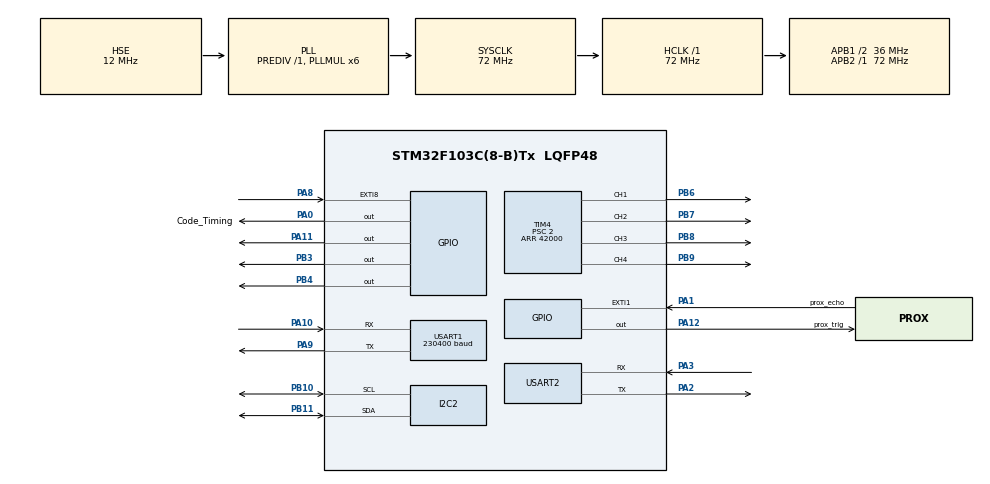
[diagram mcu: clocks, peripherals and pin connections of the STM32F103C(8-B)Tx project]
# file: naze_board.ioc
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Dma.Request0=USART1_RX
Dma.Request1=USART1_TX
Dma.Request2=USART2_RX
Dma.Request3=USART2_TX
Dma.USART1_RX.0.Direction=DMA_PERIPH_TO_MEMORY
Dma.USART1_RX.0.Instance=DMA1_Channel5
Dma.USART1_RX.0.MemDataAlignment=DMA_MDATAALIGN_BYTE
Dma.USART1_RX.0.MemInc=DMA_MINC_ENABLE
Dma.USART1_RX.0.Mode=DMA_NORMAL
Dma.USART1_RX.0.PeriphDataAlignment=DMA_PDATAALIGN_BYTE
Dma.USART1_RX.0.PeriphInc=DMA_PINC_DISABLE
Dma.USART1_RX.0.Priority=DMA_PRIORITY_LOW
Dma.USART1_TX.1.Direction=DMA_MEMORY_TO_PERIPH
Dma.USART1_TX.1.Instance=DMA1_Channel4
Dma.USART1_TX.1.MemDataAlignment=DMA_MDATAALIGN_BYTE
Dma.USART1_TX.1.MemInc=DMA_MINC_ENABLE
Dma.USART1_TX.1.Mode=DMA_NORMAL
Dma.USART1_TX.1.PeriphDataAlignment=DMA_PDATAALIGN_BYTE
Dma.USART1_TX.1.PeriphInc=DMA_PINC_DISABLE
Dma.USART1_TX.1.Priority=DMA_PRIORITY_LOW
Dma.USART2_RX.2.Direction=DMA_PERIPH_TO_MEMORY
Dma.USART2_RX.2.Instance=DMA1_Channel6
Dma.USART2_RX.2.MemDataAlignment=DMA_MDATAALIGN_BYTE
Dma.USART2_RX.2.MemInc=DMA_MINC_ENABLE
Dma.USART2_RX.2.Mode=DMA_NORMAL
Dma.USART2_RX.2.PeriphDataAlignment=DMA_PDATAALIGN_BYTE
Dma.USART2_RX.2.PeriphInc=DMA_PINC_DISABLE
Dma.USART2_RX.2.Priority=DMA_PRIORITY_LOW
Dma.USART2_TX.3.Direction=DMA_MEMORY_TO_PERIPH
Dma.USART2_TX.3.Instance=DMA1_Channel7
Dma.USART2_TX.3.MemDataAlignment=DMA_MDATAALIGN_BYTE
Dma.USART2_TX.3.MemInc=DMA_MINC_ENABLE
Dma.USART2_TX.3.Mode=DMA_NORMAL
Dma.USART2_TX.3.PeriphDataAlignment=DMA_PDATAALIGN_BYTE
Dma.USART2_TX.3.PeriphInc=DMA_PINC_DISABLE
Dma.USART2_TX.3.Priority=DMA_PRIORITY_LOW
I2C2.I2C_Mode=I2C_Fast
Mcu.Family=STM32F1
Mcu.Name=STM32F103C(8-B)Tx
Mcu.Package=LQFP48
NVIC.DMA1_Channel4_IRQn=true\:0\:0\:false\:false\:true\:false\:true
NVIC.DMA1_Channel5_IRQn=true\:0\:0\:false\:false\:true\:false\:true
NVIC.DMA1_Channel6_IRQn=true\:0\:0\:false\:false\:true\:false\:true
NVIC.DMA1_Channel7_IRQn=true\:0\:0\:false\:false\:true\:false\:true
NVIC.EXTI1_IRQn=true\:0\:0\:false\:false\:true\:true\:true
NVIC.EXTI9_5_IRQn=true\:0\:0\:false\:false\:true\:true\:true
NVIC.PriorityGroup=NVIC_PRIORITYGROUP_4
NVIC.TIM3_IRQn=true\:0\:0\:false\:false\:true\:true\:true
NVIC.TIM4_IRQn=true\:0\:0\:false\:false\:true\:true\:true
NVIC.USART1_IRQn=true\:0\:0\:false\:false\:true\:true\:true
NVIC.USART2_IRQn=true\:0\:0\:false\:false\:true\:true\:true
PA0-WKUP.GPIO_Label=Code_Timing
PA0-WKUP.Signal=GPIO_Output
PA1.GPIO_Label=prox_echo
PA1.GPIO_ModeDefaultEXTI=GPIO_MODE_IT_RISING_FALLING
PA1.Signal=GPXTI1
PA10.Mode=Asynchronous
PA10.Signal=USART1_RX
PA11.Signal=GPIO_Output
PA12.GPIO_Label=prox_trig
PA12.Signal=GPIO_Output
PA13.Mode=Serial_Wire
PA13.Signal=SYS_JTMS-SWDIO
PA14.Mode=Serial_Wire
PA14.Signal=SYS_JTCK-SWCLK
PA2.Mode=Asynchronous
PA2.Signal=USART2_TX
PA3.Mode=Asynchronous
PA3.Signal=USART2_RX
PA8.GPIO_ModeDefaultEXTI=GPIO_MODE_IT_FALLING
PA8.GPIO_PuPd=GPIO_PULLUP
PA8.Signal=GPXTI8
PA9.Mode=Asynchronous
PA9.Signal=USART1_TX
PB10.Mode=I2C
PB10.Signal=I2C2_SCL
PB11.Mode=I2C
PB11.Signal=I2C2_SDA
PB3.Signal=GPIO_Output
PB4.Signal=GPIO_Output
PB6.Signal=S_TIM4_CH1
PB7.Signal=S_TIM4_CH2
PB8.Signal=S_TIM4_CH3
PB9.Signal=S_TIM4_CH4
PD0-OSC_IN.Mode=HSE-External-Oscillator
PD0-OSC_IN.Signal=RCC_OSC_IN
PD1-OSC_OUT.Mode=HSE-External-Oscillator
PD1-OSC_OUT.Signal=RCC_OSC_OUT
ProjectManager.HeapSize=0x200
ProjectManager.StackSize=0x400
ProjectManager.TargetToolchain=STM32CubeIDE
RCC.AHBFreq_Value=72000000
RCC.APB1CLKDivider=RCC_HCLK_DIV2
RCC.APB1Freq_Value=36000000
RCC.APB1TimFreq_Value=72000000
RCC.APB2Freq_Value=72000000
RCC.APB2TimFreq_Value=72000000
RCC.HCLKFreq_Value=72000000
RCC.HSE_VALUE=12000000
RCC.PLLMUL=RCC_PLL_MUL6
RCC.PLLSourceVirtual=RCC_PLLSOURCE_HSE
RCC.SYSCLKFreq_VALUE=72000000
RCC.SYSCLKSource=RCC_SYSCLKSOURCE_PLLCLK
RCC.USBFreq_Value=72000000
SH.S_TIM4_CH1.0=TIM4_CH1,PWM Generation1 CH1
SH.S_TIM4_CH2.0=TIM4_CH2,PWM Generation2 CH2
SH.S_TIM4_CH3.0=TIM4_CH3,PWM Generation3 CH3
SH.S_TIM4_CH4.0=TIM4_CH4,PWM Generation4 CH4
TIM2.AutoReloadPreload=TIM_AUTORELOAD_PRELOAD_ENABLE
TIM2.Channel-Output\ Compare1\ No\ Output=TIM_CHANNEL_1
TIM2.Period=65000
TIM2.Prescaler=14
TIM3.Channel-Output\ Compare1\ No\ Output=TIM_CHANNEL_1
TIM3.Period=9000
TIM3.Prescaler=15
TIM4.AutoReloadPreload=TIM_AUTORELOAD_PRELOAD_ENABLE
TIM4.Channel-PWM\ Generation1\ CH1=TIM_CHANNEL_1
TIM4.Channel-PWM\ Generation2\ CH2=TIM_CHANNEL_2
TIM4.Channel-PWM\ Generation3\ CH3=TIM_CHANNEL_3
TIM4.Channel-PWM\ Generation4\ CH4=TIM_CHANNEL_4
TIM4.Period=42000
TIM4.Prescaler=2
USART1.BaudRate=230400
USART1.VirtualMode=VM_ASYNC
USART2.VirtualMode=VM_ASYNC
VP_TIM2_VS_no_output1.Mode=Output Compare1 No Output
VP_TIM3_VS_no_output1.Mode=Output Compare1 No Output
board=custom

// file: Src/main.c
/* USER CODE BEGIN Header */
/**
  ******************************************************************************
  * @file           : main.c
  * @brief          : Main program body
  ******************************************************************************
  * @attention
  *
  * <h2><center>&copy; Copyright (c) 2019 STMicroelectronics.
  * All rights reserved.</center></h2>
  *
  * This software component is licensed by ST under BSD 3-Clause license,
  * the "License"; You may not use this file except in compliance with the
  * License. You may obtain a copy of the License at:
  *                        opensource.org/licenses/BSD-3-Clause
  *
  ******************************************************************************
  */
/* USER CODE END Header */

#include "main.h"

/* USER CODE BEGIN Includes */
//////////////////////////////

// Library that handles setup and fetching data from accel and gyro.
// TO DO: rewrite it to take advantage of DMA functionality.
#include "mpu6050.h"

// complimentary filter that converts mpu6050 output to roll and pitch
// angle in radians.
// NOTE: gyro calculation are not accurate for big roll and pitch angles
// due to coupling to yaw.
#include "comp_filt.h"

// pid for roll pitch and yaw control
// NOTE: Do not use yaw because there is no magnetometer.
// TO DO: altitude pid that will run at different freq
#include "pid.h"

// A simple implementation of printf function that transmits data to UART
// see the header and c file for more info. Sending standard "printf" function
// to uart didnt work for some reason.
#include "debugPrint.h"

#include "prox_sens.h"
#include "comm.h"

/////////////////////////////
/* USER CODE END Includes */

I2C_HandleTypeDef hi2c2;

TIM_HandleTypeDef htim2;
TIM_HandleTypeDef htim3;
TIM_HandleTypeDef htim4;

UART_HandleTypeDef huart1;
UART_HandleTypeDef huart2;
DMA_HandleTypeDef hdma_usart1_rx;
DMA_HandleTypeDef hdma_usart1_tx;
DMA_HandleTypeDef hdma_usart2_rx;
DMA_HandleTypeDef hdma_usart2_tx;

/* USER CODE BEGIN PV */

extern int prox_Flag;			// Variable used by prox_sens
extern float prox_Distance;		// Variable used by prox_sens

extern int main_loop_trigger;	// Variable used to synchronize main loop

int main_loop_counter = 0;		// Variable used to synchronize prox_sens in main loop

// init comp filter struct
COMP_FILT comp_filt;

// filters
FILT acc_filt;
FILT gyro_filt;

/* USER CODE END PV */

void SystemClock_Config(void);
static void MX_GPIO_Init(void);
static void MX_DMA_Init(void);
static void MX_I2C2_Init(void);
static void MX_USART1_UART_Init(void);
static void MX_TIM4_Init(void);
static void MX_TIM3_Init(void);
static void MX_TIM2_Init(void);
static void MX_USART2_UART_Init(void);
/* USER CODE BEGIN PFP */
/////////////////////////
void pwm_setvalue(uint16_t value, uint32_t channel);

///////////////////////
/* USER CODE END PFP */

int main(void)
{

  /* MCU Configuration--------------------------------------------------------*/

  /* Reset of all peripherals, Initializes the Flash interface and the Systick. */
  HAL_Init();

  /* Configure the system clock */
  SystemClock_Config();

  /* Initialize all configured peripherals */
  MX_GPIO_Init();
  MX_DMA_Init();
  MX_I2C2_Init();
  MX_USART1_UART_Init();
  MX_TIM4_Init();
  MX_TIM3_Init();
  MX_TIM2_Init();
  MX_USART2_UART_Init();
  /* USER CODE BEGIN 2 */
  ///////////////////////

  // Start timers
  HAL_TIM_Base_Start_IT(&htim4);	// PWM timer
  HAL_TIM_Base_Start_IT(&htim3);	// Main loop timer
  HAL_TIM_Base_Start_IT(&htim2);	// Proximity sensor

  // Indicates when the main loop should be executed.
  main_loop_trigger = 1;

  // Initialize pwm outputs and set it to 1ms period
  pwm_init();

  // Wait for the motors to recognize the signal
  HAL_Delay(1000);

  // init pid
  pid_init();

  // Reset leds
  HAL_GPIO_WritePin(GPIOB, GPIO_PIN_4, GPIO_PIN_SET);
  HAL_GPIO_WritePin(GPIOB, GPIO_PIN_3, GPIO_PIN_SET);

  // setup the mpu6050
  int result = MPU6050_Init(&hi2c2);
  HAL_Delay(500);
  if(result == 1){
	  //debugPrintStr("mpu6050 ok \n");
  }
  else {
	  //debugPrintStr("mpu6050 error \n");
		  for (int i = 0;i<result*2;i++){
			  HAL_GPIO_TogglePin(GPIOB, GPIO_PIN_4);
			  HAL_Delay(500);
		  }
		  while(1);
  }

  // precalculate atan lookup table
  atan_lookup_init(X_MIN, X_MAX, Y_MIN, Y_MAX ,RES_LOOKUP);

  HAL_UART_Receive_DMA(&huart2,buffer_rx,16);

  /////////////////////
  /* USER CODE END 2 */

  /* Infinite loop */
  /* USER CODE BEGIN WHILE */

  // Blink green LED 5 times to indicate that setup was successful
  for (int i=0;i<6;i++){
	  HAL_GPIO_TogglePin(GPIOB, GPIO_PIN_3);
	  HAL_Delay(500);
  }

  TIM4->CCR1 = 25000;
  TIM4->CCR2 = 25000;
  TIM4->CCR3 = 25000;
  TIM4->CCR4 = 25000;

  HAL_Delay(1000);

  /*
  // Proximity sensor part of the code.
  // try the echo CHANGE PIN
  HAL_GPIO_WritePin(GPIOA , GPIO_PIN_8, GPIO_PIN_SET);
  HAL_Delay(1);
  HAL_GPIO_WritePin(GPIOA , GPIO_PIN_8, GPIO_PIN_RESET);
  prox_status = 1;
  */

  filt_init(&acc_filt);
  filt_init(&gyro_filt);

  while (1)
  {
/////////////////////////////////////////////
// Temperature readings from mpu6050 not used at the moment
//SD_MPU6050_ReadTemperature(&hi2c2,&mpu1);
//float temper = mpu1.Temperature;

// Direction convention
// x positive - ESC connector
// y positive - usb connector
// z positive - down (SwD pins)

	  // Execute at 500Hz
	  if(main_loop_trigger == 1){

		  // wait for interrupt
		  main_loop_trigger = 0;

		  // Every 10 loops (at 50Hz) start the proximity sensor
		  if(main_loop_counter == 10){
			  // Set trigger pin high.
			  HAL_GPIO_WritePin(GPIOA , GPIO_PIN_11, GPIO_PIN_SET);

			  // TEST
			  //char msg[]={'a','b'};
			  //HAL_UART_Transmit(&huart2, (uint8_t *)msg, 2, 1);

			  //COMM_send_rawSens(); 	// Send raw sensor readings
			  	COMM_send_states(); 		// Send roll pitch yaw, altitude

			  	// Send data
			  	HAL_UART_Transmit_DMA(&huart2,buffer_tx,12);

		  }

		  // Set pin high (used to time the main loop with scope
		  HAL_GPIO_WritePin(GPIOA, GPIO_PIN_0, GPIO_PIN_SET);

		  // Read IMU
		  MPU6050_ReadAccelerometer(&hi2c2);
		  MPU6050_ReadGyroscope(&hi2c2);

		  // MCU is mounted upside down. Flip the axis
		  IMU[0] = IMU[0];
		  IMU[1] = -IMU[1];
		  IMU[2] = -IMU[2];
		  IMU[3] = IMU[3];
		  IMU[4] = -IMU[4];
		  IMU[5] = -IMU[5];

		  // Calculate roll pitch and yaw
		  COMP_FILT_update(&comp_filt);

		  // Every 10 loops (at 50Hz) start the proximity sensor
		  if(main_loop_counter == 10){
			  // Set trigger pin low.
			  HAL_GPIO_WritePin(GPIOA , GPIO_PIN_11, GPIO_PIN_RESET);
			  // Set prox status flag to 1
			  prox_Flag = 1;
			  // Reset loop counter
			  main_loop_counter = 0;
		  }
		  main_loop_counter++;

		  // Safety check. If roll or pitch exceeds 45deg/0.78539816rad
		  // stop the motors. the drone should not operate at such angles.
		  //if (RPYA[0] > 0.78539816 || RPYA[0] < - 0.78539816 || RPYA[1] > 0.78539816 || RPYA[1] < - 0.78539816){
			//  stop_motors();
		  //}

		  // update pid. outputs available in rpy_pid_data->out[i]
		  pid_update();

		  // Convert from pid values to counter values and
		  // add/subtract those values from different motors

		  //int motor_2_adj = 2000;
		  int motor1 = (int)(24000*MOTOR_CMD[0]) + 24000;
		  int motor2 = (int)(24000*MOTOR_CMD[1]) + 24000;
		  int motor3 = (int)(24000*MOTOR_CMD[2]) + 24000;
		  int motor4 = (int)(24000*MOTOR_CMD[3]) + 24000;

		  TIM4->CCR1 = motor1;
		  TIM4->CCR2 = motor2;
		  TIM4->CCR3 = motor3;
		  TIM4->CCR4 = motor4;

		  // Pin used to indicate execution time (probe with scope)
		  HAL_GPIO_WritePin(GPIOA, GPIO_PIN_0, GPIO_PIN_RESET);
	  }

	/////////////////////////
    /* USER CODE END WHILE */

  }
}

void SystemClock_Config(void)
{
  RCC_OscInitTypeDef RCC_OscInitStruct = {0};
  RCC_ClkInitTypeDef RCC_ClkInitStruct = {0};

  /** Initializes the CPU, AHB and APB busses clocks
  */
  RCC_OscInitStruct.OscillatorType = RCC_OSCILLATORTYPE_HSE;
  RCC_OscInitStruct.HSEState = RCC_HSE_ON;
  RCC_OscInitStruct.HSEPredivValue = RCC_HSE_PREDIV_DIV1;
  RCC_OscInitStruct.HSIState = RCC_HSI_ON;
  RCC_OscInitStruct.PLL.PLLState = RCC_PLL_ON;
  RCC_OscInitStruct.PLL.PLLSource = RCC_PLLSOURCE_HSE;
  RCC_OscInitStruct.PLL.PLLMUL = RCC_PLL_MUL6;
  if (HAL_RCC_OscConfig(&RCC_OscInitStruct) != HAL_OK)
  {
    Error_Handler();
  }
  /** Initializes the CPU, AHB and APB busses clocks
  */
  RCC_ClkInitStruct.ClockType = RCC_CLOCKTYPE_HCLK|RCC_CLOCKTYPE_SYSCLK
                              |RCC_CLOCKTYPE_PCLK1|RCC_CLOCKTYPE_PCLK2;
  RCC_ClkInitStruct.SYSCLKSource = RCC_SYSCLKSOURCE_PLLCLK;
  RCC_ClkInitStruct.AHBCLKDivider = RCC_SYSCLK_DIV1;
  RCC_ClkInitStruct.APB1CLKDivider = RCC_HCLK_DIV2;
  RCC_ClkInitStruct.APB2CLKDivider = RCC_HCLK_DIV1;

  if (HAL_RCC_ClockConfig(&RCC_ClkInitStruct, FLASH_LATENCY_2) != HAL_OK)
  {
    Error_Handler();
  }
}

static void MX_I2C2_Init(void)
{

  hi2c2.Instance = I2C2;
  hi2c2.Init.ClockSpeed = 400000;
  hi2c2.Init.DutyCycle = I2C_DUTYCYCLE_2;
  hi2c2.Init.OwnAddress1 = 0;
  hi2c2.Init.AddressingMode = I2C_ADDRESSINGMODE_7BIT;
  hi2c2.Init.DualAddressMode = I2C_DUALADDRESS_DISABLE;
  hi2c2.Init.OwnAddress2 = 0;
  hi2c2.Init.GeneralCallMode = I2C_GENERALCALL_DISABLE;
  hi2c2.Init.NoStretchMode = I2C_NOSTRETCH_DISABLE;
  if (HAL_I2C_Init(&hi2c2) != HAL_OK)
  {
    Error_Handler();
  }

}

static void MX_TIM2_Init(void)
{

  TIM_MasterConfigTypeDef sMasterConfig = {0};
  TIM_OC_InitTypeDef sConfigOC = {0};

  htim2.Instance = TIM2;
  htim2.Init.Prescaler = 14;
  htim2.Init.CounterMode = TIM_COUNTERMODE_UP;
  htim2.Init.Period = 65000;
  htim2.Init.ClockDivision = TIM_CLOCKDIVISION_DIV1;
  htim2.Init.AutoReloadPreload = TIM_AUTORELOAD_PRELOAD_ENABLE;
  if (HAL_TIM_OC_Init(&htim2) != HAL_OK)
  {
    Error_Handler();
  }
  sMasterConfig.MasterOutputTrigger = TIM_TRGO_RESET;
  sMasterConfig.MasterSlaveMode = TIM_MASTERSLAVEMODE_DISABLE;
  if (HAL_TIMEx_MasterConfigSynchronization(&htim2, &sMasterConfig) != HAL_OK)
  {
    Error_Handler();
  }
  sConfigOC.OCMode = TIM_OCMODE_TIMING;
  sConfigOC.Pulse = 0;
  sConfigOC.OCPolarity = TIM_OCPOLARITY_HIGH;
  sConfigOC.OCFastMode = TIM_OCFAST_DISABLE;
  if (HAL_TIM_OC_ConfigChannel(&htim2, &sConfigOC, TIM_CHANNEL_1) != HAL_OK)
  {
    Error_Handler();
  }

}

static void MX_TIM3_Init(void)
{

  TIM_MasterConfigTypeDef sMasterConfig = {0};
  TIM_OC_InitTypeDef sConfigOC = {0};

  htim3.Instance = TIM3;
  htim3.Init.Prescaler = 15;
  htim3.Init.CounterMode = TIM_COUNTERMODE_UP;
  htim3.Init.Period = 9000;
  htim3.Init.ClockDivision = TIM_CLOCKDIVISION_DIV1;
  htim3.Init.AutoReloadPreload = TIM_AUTORELOAD_PRELOAD_DISABLE;
  if (HAL_TIM_OC_Init(&htim3) != HAL_OK)
  {
    Error_Handler();
  }
  sMasterConfig.MasterOutputTrigger = TIM_TRGO_RESET;
  sMasterConfig.MasterSlaveMode = TIM_MASTERSLAVEMODE_DISABLE;
  if (HAL_TIMEx_MasterConfigSynchronization(&htim3, &sMasterConfig) != HAL_OK)
  {
    Error_Handler();
  }
  sConfigOC.OCMode = TIM_OCMODE_TIMING;
  sConfigOC.Pulse = 0;
  sConfigOC.OCPolarity = TIM_OCPOLARITY_HIGH;
  sConfigOC.OCFastMode = TIM_OCFAST_DISABLE;
  if (HAL_TIM_OC_ConfigChannel(&htim3, &sConfigOC, TIM_CHANNEL_1) != HAL_OK)
  {
    Error_Handler();
  }

}

static void MX_TIM4_Init(void)
{

  TIM_MasterConfigTypeDef sMasterConfig = {0};
  TIM_OC_InitTypeDef sConfigOC = {0};

  htim4.Instance = TIM4;
  htim4.Init.Prescaler = 2;
  htim4.Init.CounterMode = TIM_COUNTERMODE_UP;
  htim4.Init.Period = 42000;
  htim4.Init.ClockDivision = TIM_CLOCKDIVISION_DIV1;
  htim4.Init.AutoReloadPreload = TIM_AUTORELOAD_PRELOAD_ENABLE;
  if (HAL_TIM_PWM_Init(&htim4) != HAL_OK)
  {
    Error_Handler();
  }
  sMasterConfig.MasterOutputTrigger = TIM_TRGO_RESET;
  sMasterConfig.MasterSlaveMode = TIM_MASTERSLAVEMODE_DISABLE;
  if (HAL_TIMEx_MasterConfigSynchronization(&htim4, &sMasterConfig) != HAL_OK)
  {
    Error_Handler();
  }
  sConfigOC.OCMode = TIM_OCMODE_PWM1;
  sConfigOC.Pulse = 0;
  sConfigOC.OCPolarity = TIM_OCPOLARITY_HIGH;
  sConfigOC.OCFastMode = TIM_OCFAST_DISABLE;
  if (HAL_TIM_PWM_ConfigChannel(&htim4, &sConfigOC, TIM_CHANNEL_1) != HAL_OK)
  {
    Error_Handler();
  }
  if (HAL_TIM_PWM_ConfigChannel(&htim4, &sConfigOC, TIM_CHANNEL_2) != HAL_OK)
  {
    Error_Handler();
  }
  if (HAL_TIM_PWM_ConfigChannel(&htim4, &sConfigOC, TIM_CHANNEL_3) != HAL_OK)
  {
    Error_Handler();
  }
  if (HAL_TIM_PWM_ConfigChannel(&htim4, &sConfigOC, TIM_CHANNEL_4) != HAL_OK)
  {
    Error_Handler();
  }
  HAL_TIM_MspPostInit(&htim4);

}

static void MX_USART1_UART_Init(void)
{

  huart1.Instance = USART1;
  huart1.Init.BaudRate = 230400;
  huart1.Init.WordLength = UART_WORDLENGTH_8B;
  huart1.Init.StopBits = UART_STOPBITS_1;
  huart1.Init.Parity = UART_PARITY_NONE;
  huart1.Init.Mode = UART_MODE_TX_RX;
  huart1.Init.HwFlowCtl = UART_HWCONTROL_NONE;
  huart1.Init.OverSampling = UART_OVERSAMPLING_16;
  if (HAL_UART_Init(&huart1) != HAL_OK)
  {
    Error_Handler();
  }

}

static void MX_USART2_UART_Init(void)
{

  huart2.Instance = USART2;
  huart2.Init.BaudRate = 115200;
  huart2.Init.WordLength = UART_WORDLENGTH_8B;
  huart2.Init.StopBits = UART_STOPBITS_1;
  huart2.Init.Parity = UART_PARITY_NONE;
  huart2.Init.Mode = UART_MODE_TX_RX;
  huart2.Init.HwFlowCtl = UART_HWCONTROL_NONE;
  huart2.Init.OverSampling = UART_OVERSAMPLING_16;
  if (HAL_UART_Init(&huart2) != HAL_OK)
  {
    Error_Handler();
  }

}

static void MX_DMA_Init(void)
{

  /* DMA controller clock enable */
  __HAL_RCC_DMA1_CLK_ENABLE();

  /* DMA interrupt init */
  /* DMA1_Channel4_IRQn interrupt configuration */
  HAL_NVIC_SetPriority(DMA1_Channel4_IRQn, 0, 0);
  HAL_NVIC_EnableIRQ(DMA1_Channel4_IRQn);
  /* DMA1_Channel5_IRQn interrupt configuration */
  HAL_NVIC_SetPriority(DMA1_Channel5_IRQn, 0, 0);
  HAL_NVIC_EnableIRQ(DMA1_Channel5_IRQn);
  /* DMA1_Channel6_IRQn interrupt configuration */
  HAL_NVIC_SetPriority(DMA1_Channel6_IRQn, 0, 0);
  HAL_NVIC_EnableIRQ(DMA1_Channel6_IRQn);
  /* DMA1_Channel7_IRQn interrupt configuration */
  HAL_NVIC_SetPriority(DMA1_Channel7_IRQn, 0, 0);
  HAL_NVIC_EnableIRQ(DMA1_Channel7_IRQn);

}

static void MX_GPIO_Init(void)
{
  GPIO_InitTypeDef GPIO_InitStruct = {0};

  /* GPIO Ports Clock Enable */
  __HAL_RCC_GPIOD_CLK_ENABLE();
  __HAL_RCC_GPIOA_CLK_ENABLE();
  __HAL_RCC_GPIOB_CLK_ENABLE();

  /*Configure GPIO pin Output Level */
  HAL_GPIO_WritePin(GPIOA, Code_Timing_Pin|GPIO_PIN_11|prox_trig_Pin, GPIO_PIN_RESET);

  /*Configure GPIO pin Output Level */
  HAL_GPIO_WritePin(GPIOB, GPIO_PIN_3|GPIO_PIN_4, GPIO_PIN_RESET);

  /*Configure GPIO pins : Code_Timing_Pin PA11 prox_trig_Pin */
  GPIO_InitStruct.Pin = Code_Timing_Pin|GPIO_PIN_11|prox_trig_Pin;
  GPIO_InitStruct.Mode = GPIO_MODE_OUTPUT_PP;
  GPIO_InitStruct.Pull = GPIO_NOPULL;
  GPIO_InitStruct.Speed = GPIO_SPEED_FREQ_LOW;
  HAL_GPIO_Init(GPIOA, &GPIO_InitStruct);

  /*Configure GPIO pin : prox_echo_Pin */
  GPIO_InitStruct.Pin = prox_echo_Pin;
  GPIO_InitStruct.Mode = GPIO_MODE_IT_RISING_FALLING;
  GPIO_InitStruct.Pull = GPIO_NOPULL;
  HAL_GPIO_Init(prox_echo_GPIO_Port, &GPIO_InitStruct);

  /*Configure GPIO pin : PA8 */
  GPIO_InitStruct.Pin = GPIO_PIN_8;
  GPIO_InitStruct.Mode = GPIO_MODE_IT_FALLING;
  GPIO_InitStruct.Pull = GPIO_PULLUP;
  HAL_GPIO_Init(GPIOA, &GPIO_InitStruct);

  /*Configure GPIO pins : PB3 PB4 */
  GPIO_InitStruct.Pin = GPIO_PIN_3|GPIO_PIN_4;
  GPIO_InitStruct.Mode = GPIO_MODE_OUTPUT_PP;
  GPIO_InitStruct.Pull = GPIO_NOPULL;
  GPIO_InitStruct.Speed = GPIO_SPEED_FREQ_LOW;
  HAL_GPIO_Init(GPIOB, &GPIO_InitStruct);

  /* EXTI interrupt init*/
  HAL_NVIC_SetPriority(EXTI1_IRQn, 0, 0);
  HAL_NVIC_EnableIRQ(EXTI1_IRQn);

  HAL_NVIC_SetPriority(EXTI9_5_IRQn, 0, 0);
  HAL_NVIC_EnableIRQ(EXTI9_5_IRQn);

}

/* USER CODE BEGIN 4 */
///////////////////////

void pwm_init(void)
{
	  TIM_OC_InitTypeDef sConfigOC;

	  sConfigOC.OCMode = TIM_OCMODE_PWM1;
	  sConfigOC.Pulse = 16800;
	  sConfigOC.OCPolarity = TIM_OCPOLARITY_HIGH;
	  sConfigOC.OCFastMode = TIM_OCFAST_DISABLE;

	  HAL_TIM_PWM_ConfigChannel(&htim4, &sConfigOC, TIM_CHANNEL_1);
	  HAL_TIM_PWM_Start(&htim4, TIM_CHANNEL_1);

	  HAL_TIM_PWM_ConfigChannel(&htim4, &sConfigOC, TIM_CHANNEL_2);
	  HAL_TIM_PWM_Start(&htim4, TIM_CHANNEL_2);

	  HAL_TIM_PWM_ConfigChannel(&htim4, &sConfigOC, TIM_CHANNEL_3);
	  HAL_TIM_PWM_Start(&htim4, TIM_CHANNEL_3);

	  HAL_TIM_PWM_ConfigChannel(&htim4, &sConfigOC, TIM_CHANNEL_4);
	  HAL_TIM_PWM_Start(&htim4, TIM_CHANNEL_4);
}

// UART transmit callback function. called once the transmission is finished
void HAL_UART_TxCpltCallback(UART_HandleTypeDef *huart){
	//HAL_UART_Receive_DMA(&huart1,buffer_rx,10);
	// UART transmission is finished.
}

// UART receive callback function. called once the buffer is full
void HAL_UART_RxCpltCallback(UART_HandleTypeDef *huart){

	//
	COMM_parse_cmd();

	// Start a new receive
	HAL_UART_Receive_DMA(&huart2,buffer_rx,16);

}

/**
  * @brief  This function stops the motors and execution of the program.
  * 		Call in case of serious failure.
  * @retval None
  */
void stop_motors(void){

	// System failed!
	HAL_GPIO_WritePin(GPIOB, GPIO_PIN_4, GPIO_PIN_RESET);
	TIM4->CCR1 = 16800;
	TIM4->CCR2 = 16800;
	TIM4->CCR3 = 16800;
	TIM4->CCR4 = 16800;
	while(1);
}

///////////////////////
/* USER CODE END 4 */

void Error_Handler(void)
{
}

/************************ (C) COPYRIGHT STMicroelectronics *****END OF FILE****/
